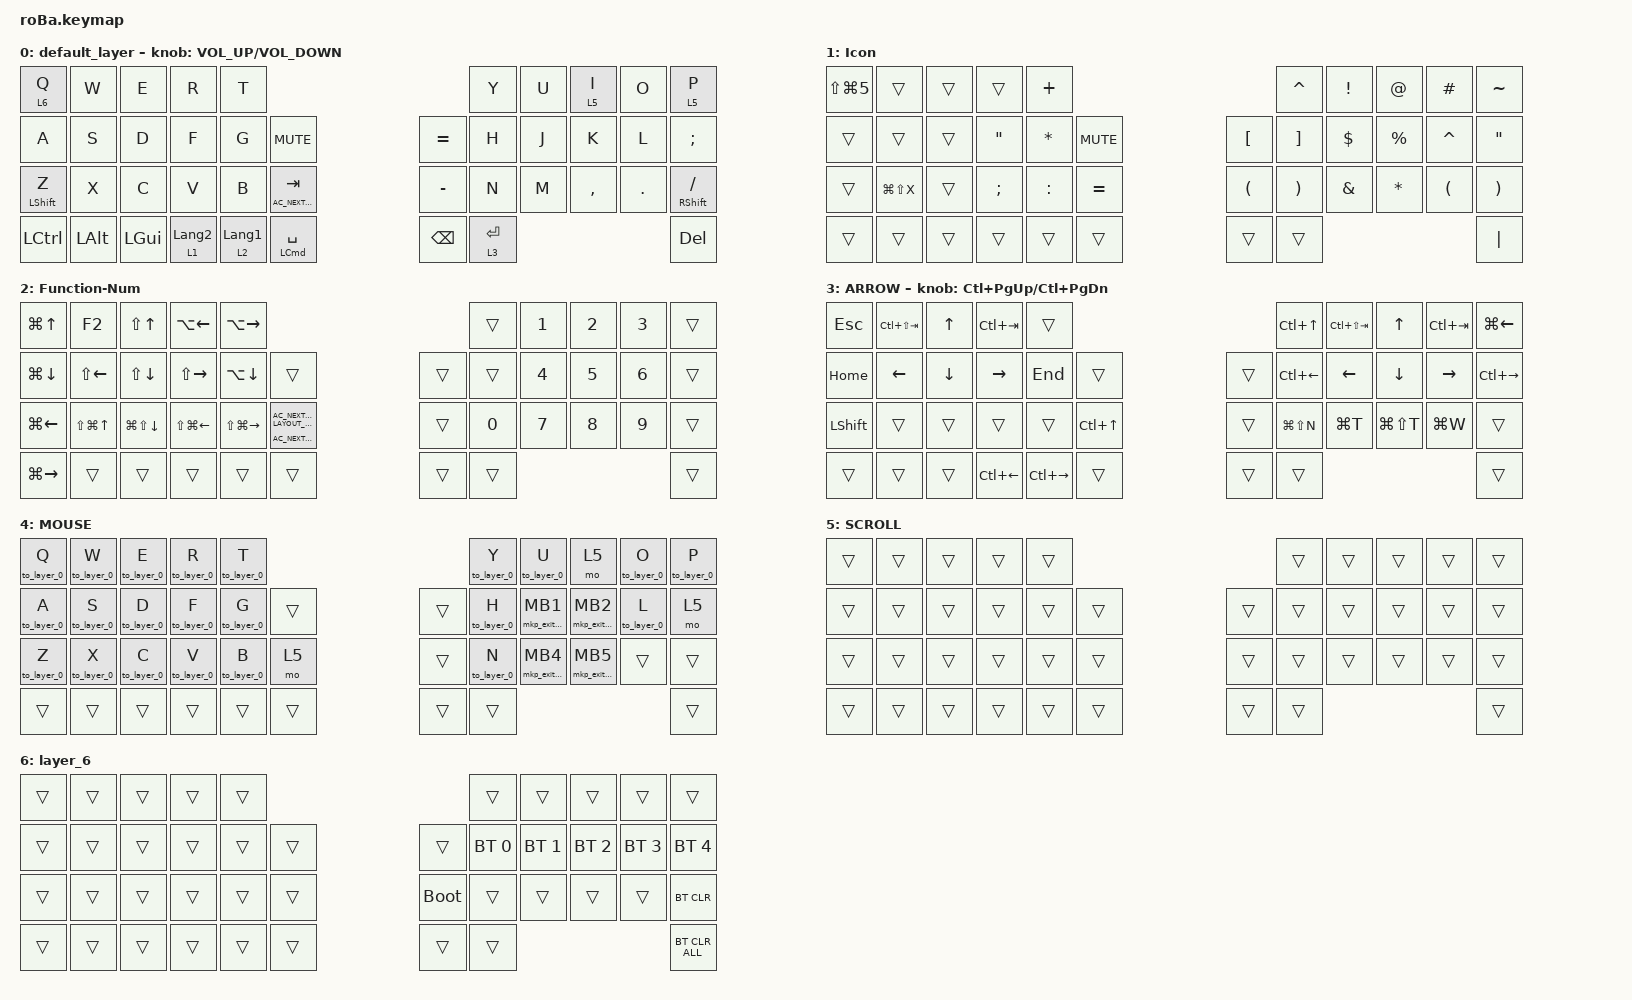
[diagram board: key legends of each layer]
#include <behaviors.dtsi>
#include <dt-bindings/zmk/bt.h>
#include <dt-bindings/zmk/keys.h>
#include <dt-bindings/zmk/pointing.h>

#define MOUSE 4
#define SCROLL 5
#define NUM 6

&mt {
    flavor = "balanced";
    quick-tap-ms = <0>;
};

/ {
    combos {
        compatible = "zmk,combos";

        tab {
            bindings = <&kp TAB>;
            key-positions = <11 12>;
        };

        shift_tab {
            bindings = <&kp LS(TAB)>;
            key-positions = <12 13>;
        };

        muhennkann {
            bindings = <&to_layer_0 INT_MUHENKAN>;
            key-positions = <11 10>;
        };

        double_quotation {
            bindings = <&kp DOUBLE_QUOTES>;
            key-positions = <20 21>;
        };

        eq {
            bindings = <&kp EQUAL>;
            key-positions = <24 25>;
        };
    };

    macros {
        to_layer_0: to_layer_0 {
            compatible = "zmk,behavior-macro-one-param";
            #binding-cells = <1>;
            bindings = <&to 0 &macro_param_1to1 &kp MACRO_PLACEHOLDER>;
            label = "TO_LAYER_0";
        };

        mkp_exit_AML: mkp_exit_AML {
            compatible = "zmk,behavior-macro-one-param";
            #binding-cells = <1>;
            bindings =
                <&macro_press>,
                <&macro_param_1to1 &mkp MACRO_PLACEHOLDER>,
                <&macro_pause_for_release>,
                <&macro_release>,
                <&macro_param_1to1 &mkp MACRO_PLACEHOLDER>,
                <&macro_tap>,
                <&sl 4>;

            label = "MKP_EXIT_AML";
        };
    };

    behaviors {
        lt_to_layer_0: lt_to_layer_0 {
            compatible = "zmk,behavior-hold-tap";
            label = "LAYER_TAP_TO_0";
            bindings = <&mo>, <&to_layer_0>;

            #binding-cells = <2>;
            tapping-term-ms = <200>;
        };
    };

    keymap {
        compatible = "zmk,keymap";

        default_layer {
            bindings = <
&lt 6 Q           &kp W         &kp E         &kp R                        &kp T                                                                          &kp Y        &kp U  &lt 5 I    &kp O    &lt 5 P
&kp A             &kp S         &kp D         &kp F                        &kp G             &kp C_MUTE                                    &kp EQUAL      &kp H        &kp J  &kp K      &kp L    &kp SEMICOLON
&mt LEFT_SHIFT Z  &kp X         &kp C         &kp V                        &kp B             &mt C_AC_NEXT_KEYBOARD_LAYOUT_SELECT TAB      &kp MINUS      &kp N        &kp M  &kp COMMA  &kp DOT  &mt RIGHT_SHIFT SLASH
&kp LCTRL         &kp LEFT_ALT  &kp LEFT_GUI  &lt_to_layer_0 1 LANGUAGE_2  &lt 2 LANGUAGE_1  &mt LEFT_COMMAND SPACE                        &kp BACKSPACE  &lt 3 ENTER                             &kp DELETE
            >;

            sensor-bindings = <&inc_dec_kp C_VOLUME_UP C_VOLUME_DOWN>;
        };

        Icon {
            bindings = <
&kp LS(LG(N5))  &trans         &trans  &trans             &kp PLUS                                            &kp CARET              &kp EXCLAMATION  &kp AT_SIGN   &kp HASH              &kp TILDE
&trans          &trans         &trans  &kp DOUBLE_QUOTES  &kp ASTERISK  &kp C_MUTE      &kp LEFT_BRACKET      &kp RIGHT_BRACKET      &kp DOLLAR       &kp PERCENT   &kp CARET             &kp DOUBLE_QUOTES
&trans          &kp LG(LS(X))  &trans  &kp SEMI           &kp COLON     &kp EQUAL       &kp LEFT_PARENTHESIS  &kp RIGHT_PARENTHESIS  &kp AMPERSAND    &kp ASTERISK  &kp LEFT_PARENTHESIS  &kp RIGHT_PARENTHESIS
&trans          &trans         &trans  &trans             &trans        &trans          &trans                &trans                                                                      &kp PIPE
            >;
        };

        Function-Num {
            bindings = <
&kp LG(UP_ARROW)     &kp F2                &kp LS(UP_ARROW)        &kp LA(LEFT_ARROW)      &kp LA(RIGHT_ARROW)                                                                                         &trans  &kp NUMBER_1  &kp NUMBER_2  &kp NUMBER_3  &trans
&kp LG(DOWN_ARROW)   &kp LS(LEFT_ARROW)    &kp LS(DOWN_ARROW)      &kp LS(RIGHT_ARROW)     &kp LA(DOWN_ARROW)       &trans                                                                     &trans  &trans  &kp NUMBER_4  &kp N5        &kp NUMBER_6  &trans
&kp LG(LEFT_ARROW)   &kp LS(LG(UP_ARROW))  &kp LG(LS(DOWN_ARROW))  &kp LS(LG(LEFT_ARROW))  &kp LS(LG(RIGHT_ARROW))  &mt C_AC_NEXT_KEYBOARD_LAYOUT_SELECT C_AC_NEXT_KEYBOARD_LAYOUT_SELECT      &trans  &kp N0  &kp N7        &kp N8        &kp N9        &trans
&kp LG(RIGHT_ARROW)  &trans                &trans                  &trans                  &trans                   &trans                                                                     &trans  &trans                                            &trans
            >;
        };

        ARROW {
            bindings = <
&kp ESCAPE      &kp LC(LS(TAB))  &kp UP_ARROW    &kp LC(TAB)         &trans                                             &kp LC(UP_ARROW)    &kp LC(LS(TAB))  &kp UP_ARROW    &kp LC(TAB)      &kp LG(LEFT_ARROW)
&kp HOME        &kp LEFT_ARROW   &kp DOWN_ARROW  &kp RIGHT_ARROW     &kp END              &trans                &trans  &kp LC(LEFT_ARROW)  &kp LEFT_ARROW   &kp DOWN_ARROW  &kp RIGHT_ARROW  &kp LC(RIGHT_ARROW)
&kp LEFT_SHIFT  &trans           &trans          &trans              &trans               &kp LC(UP_ARROW)      &trans  &kp LG(LS(N))       &kp LG(T)        &kp LG(LS(T))   &kp LG(W)        &trans
&trans          &trans           &trans          &kp LC(LEFT_ARROW)  &kp LC(RIGHT_ARROW)  &trans                &trans  &trans                                                                &trans
            >;

            sensor-bindings = <&inc_dec_kp LC(PAGE_UP) LC(PAGE_DOWN)>;
        };

        MOUSE {
            bindings = <
&to_layer_0 Q  &to_layer_0 W  &to_layer_0 E  &to_layer_0 R  &to_layer_0 T                      &to_layer_0 Y  &to_layer_0 U      &mo 5              &to_layer_0 O  &to_layer_0 P
&to_layer_0 A  &to_layer_0 S  &to_layer_0 D  &to_layer_0 F  &to_layer_0 G  &trans      &trans  &to_layer_0 H  &mkp_exit_AML MB1  &mkp_exit_AML MB2  &to_layer_0 L  &mo 5
&to_layer_0 Z  &to_layer_0 X  &to_layer_0 C  &to_layer_0 V  &to_layer_0 B  &mo 5       &trans  &to_layer_0 N  &mkp_exit_AML MB4  &mkp_exit_AML MB5  &trans         &trans
&trans         &trans         &trans         &trans         &trans         &trans      &trans  &trans                                                              &trans
            >;
        };

        SCROLL {
            bindings = <
&trans  &trans  &trans  &trans  &trans                      &trans  &trans  &trans  &trans  &trans
&trans  &trans  &trans  &trans  &trans  &trans      &trans  &trans  &trans  &trans  &trans  &trans
&trans  &trans  &trans  &trans  &trans  &trans      &trans  &trans  &trans  &trans  &trans  &trans
&trans  &trans  &trans  &trans  &trans  &trans      &trans  &trans                          &trans
            >;
        };

        layer_6 {
            bindings = <
&trans  &trans  &trans  &trans  &trans                           &trans        &trans        &trans        &trans        &trans
&trans  &trans  &trans  &trans  &trans  &trans      &trans       &bt BT_SEL 0  &bt BT_SEL 1  &bt BT_SEL 2  &bt BT_SEL 3  &bt BT_SEL 4
&trans  &trans  &trans  &trans  &trans  &trans      &bootloader  &trans        &trans        &trans        &trans        &bt BT_CLR
&trans  &trans  &trans  &trans  &trans  &trans      &trans       &trans                                                  &bt BT_CLR_ALL
            >;
        };
    };
};
